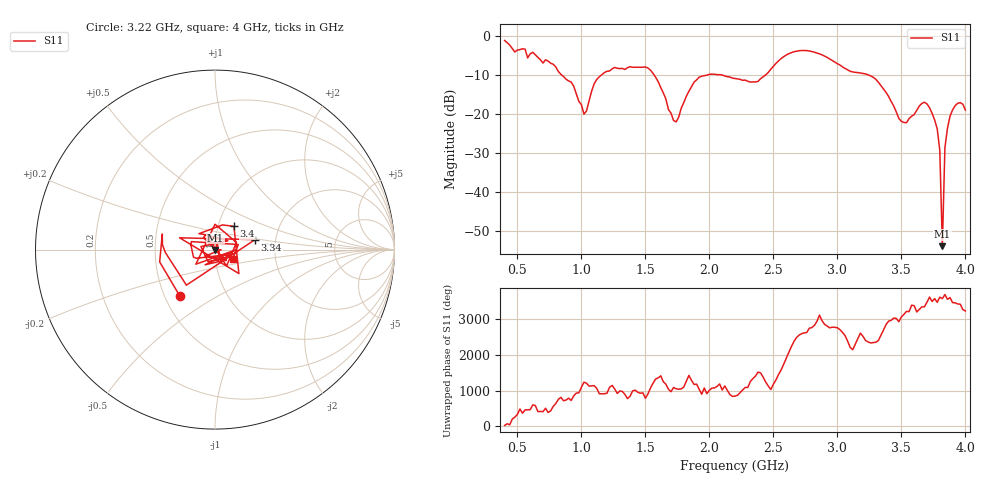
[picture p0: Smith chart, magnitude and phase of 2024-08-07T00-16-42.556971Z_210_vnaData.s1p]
!Created with skrf (http://scikit-rf.org).
# Hz S RI R 50.0
!freq ReS11 ImS11
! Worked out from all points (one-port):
!   181 points, 400 MHz to 4 GHz, reference 50 ohm
!   lowest |S11| = -53.9 dB at 3.82 GHz (marker M1), VSWR 1.00, Z = 50.1 - j0.142 ohm
!   |S11| at or under -10 dB: 1.567 GHz to 1.988 GHz (421.4 MHz wide, 23.7 % of centre); 2.09 GHz to 2.441 GHz (350.8 MHz wide, 15.5 % of centre); 3.239 GHz to end of sweep (the widest 3 of 4)
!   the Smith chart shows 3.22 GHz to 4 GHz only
!   S11 on the Smith chart (normalised r, x): 3.22 GHz: 0.60, -0.35; 3.34 GHz: 1.56, +0.18; 3.4 GHz: 1.19, +0.32; 4 GHz: 1.22, -0.12
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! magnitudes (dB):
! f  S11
! 400 MHz  -1.2
! 860 MHz  -10.4
! 940 MHz  -12.9
! 1.02 GHz  -20.1
! 1.12 GHz  -11.2
! 1.3 GHz  -8.4
! 1.52 GHz  -8.3
! 1.6 GHz  -11.8
! 1.72 GHz  -21.7
! 1.76 GHz  -20.9
! 1.92 GHz  -10.6
! 2.2 GHz  -11.0
! 2.38 GHz  -11.7
! 2.66 GHz  -4.1
! 3.1 GHz  -9.1
! 3.22 GHz  -9.8
! 3.34 GHz  -12.8
! 3.4 GHz  -15.5
! 3.5 GHz  -21.9
! 3.56 GHz  -21.2
! 3.68 GHz  -17.0
! 3.78 GHz  -23.9
! 3.8 GHz  -29.4
! 3.82 GHz  -53.9
! 3.84 GHz  -28.7
! 3.86 GHz  -23.7
! 3.92 GHz  -17.9
! 4 GHz  -19.0
